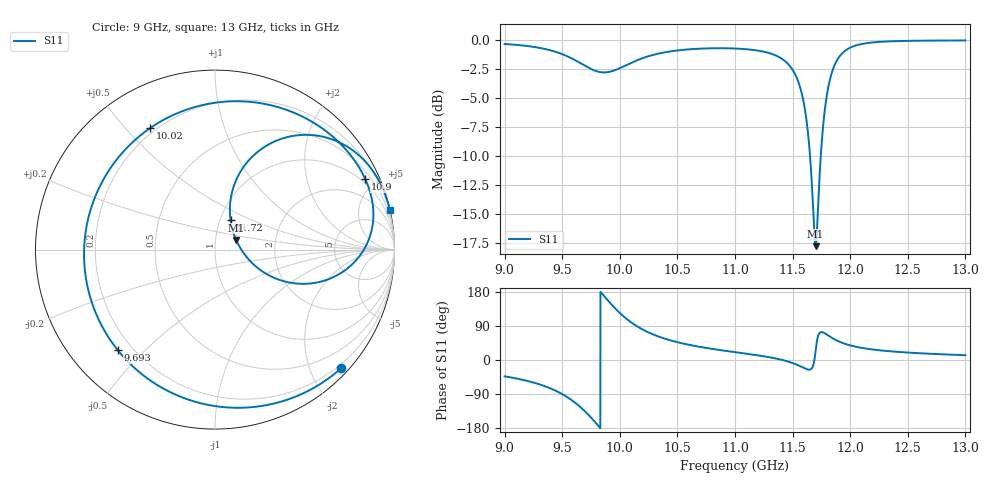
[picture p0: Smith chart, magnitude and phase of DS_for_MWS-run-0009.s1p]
! TOUCHSTONE file generated by CST DESIGN STUDIO
! Date and time: Tue Feb  4 17:20:18 2025
! Project name: C:\Work\MatlabApps\UnitCellOptimizationMatlab\CST\unitcell.cst
! Tree item: Tasks\Sweep1\SPara1\S-Parameters
! Header version: 2024
! Port assignment regex: !\s*Touchstone port\s*([0-9]+)\s*=\s*(CST MWS port|CST DES external port|CST DES block port)\s*(.+)\s* \(\"(.*)\"\)(\s*mode\s*([0-9]+))?.*
! Touchstone port assignment:
! Touchstone port 1 = CST DES external port 1 ("")
# GHz S MA R 50
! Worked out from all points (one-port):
!   4001 points, 9 GHz to 13 GHz, reference 50 ohm
!   lowest |S11| = -17.8 dB at 11.7 GHz (marker M1), VSWR 1.30, Z = 62.9 + j6.87 ohm
!   |S11| at or under -10 dB: 11.65 GHz to 11.74 GHz (92.88 MHz wide, 0.794 % of centre)
!   S11 on the Smith chart (normalised r, x): 9 GHz: 0.13, -2.53; 9.693 GHz: 0.15, -0.42; 10.02 GHz: 0.18, +0.58; 10.9 GHz: 0.81, +4.36; 11.72 GHz: 1.12, +0.38; 13 GHz: 0.04, +8.96
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9  0.9647 -43.1
9.276  0.9331 -61.8
9.5  0.8719 -90.0
9.602  0.8262 -110.3
9.693  0.7793 -134.1
9.772  0.7442 -159.2
9.842  0.7282 176.3
9.913  0.732 151.4
10  0.7586 124.1
10.021  0.7671 118.2
10.195  0.8368 81.0
10.337  0.8768 61.8
10.5  0.9044 47.0
10.897  0.9248 25.0
11  0.9221 20.7
11.319  0.8742 6.1
11.5  0.7462 -8.0
11.614  0.478 -23.1
11.657  0.2898 -24.7
11.7  0.1294 24.5
11.72  0.1854 62.1
11.762  0.4126 72.9
11.812  0.6363 64.2
11.881  0.8128 51.9
12  0.93 38.5
12.186  0.9784 28.1
12.5  0.9951 19.6
13  0.999 12.7
